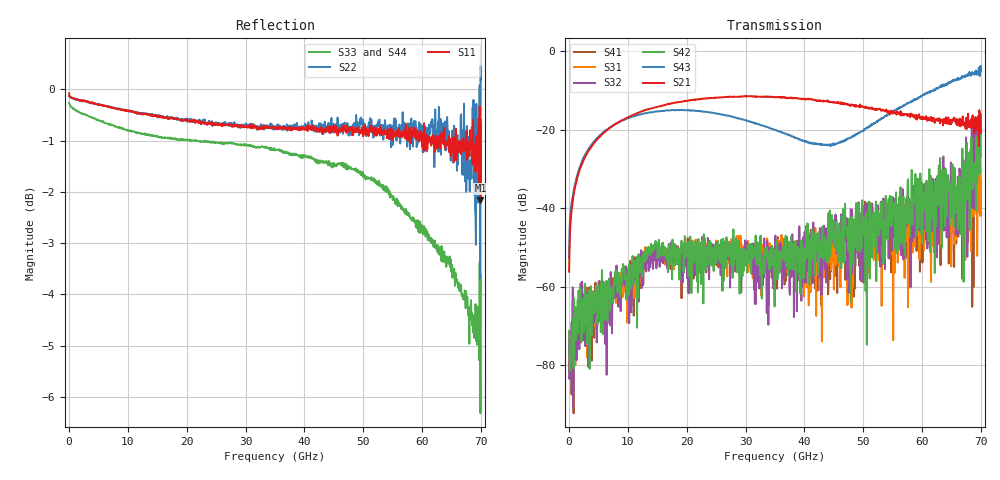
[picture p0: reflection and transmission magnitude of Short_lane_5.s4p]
! 4/13/2026 10:33:38 AM
! C:\ANRITSUVNA\DATA\SARA\2026-04-13 T5 MZDRV\DEEMB STRUCTURES\SHORT_2.S4P
! CHANNEL.1
! TR.MEASUREMENT
! CORRECTED.DATA
! RF.CORRECTION: FULL.FOUR.PORT.CAL.PORT.1.2.3.4
! AVERAGING.OFF
! IF.BANDWIDTH: 1KHZ
! SWEEPTYPE:  FREQ.SWEEP(Linear)
! Reference Plane Port Info
! PORT:  PORT1  PORT2  PORT3  PORT4
! DISTANCE:  0  m  0  m  0  m  0  m
! TIME:  0  s  0  s  0  s  0  s
! PHASE.OFFSET:  0 °  0 °  0 °  0 °
! LOSS:  0  dB  0  dB  0  dB  0  dB
! REF.LOSS:  0  dB  0  dB  0  dB  0  dB
! REF.FREQ:  0  Hz  0  Hz  0  Hz  0  Hz
! Power Info
! POWER:  -20  dBm  -20  dBm  -20  dBm  -20  dBm
! EFF.POWER:  -20  dBm  -20  dBm  -20  dBm  -20  dBm
! SOURCE.ATTEN:  0  dB  0  dB  0  dB  0  dB
! TEST.ATTEN:  0  dB  0  dB  0  dB  0  dB
# HZ S DB R 50.0
! FREQ.HZ  S11DB  S11A  S12DB  S12A  S13DB  S13A  S14DB  S14A
!  S21DB  S21A  S22DB  S22A  S23DB  S23A  S24DB  S24A
!  S31DB  S31A  S32DB  S32A  S33DB  S33A  S34DB  S34A
!  S41DB  S41A  S42DB  S42A  S43DB  S43A  S44DB  S44A
!; PortSelection: Port_1234
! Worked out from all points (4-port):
!   1001 points, 10 MHz to 70 GHz, reference 50 ohm
!   strongest paths, dB at 10 MHz, 17.51 GHz, 35.01 GHz, 52.5 GHz, 70 GHz:
!     S21: -56.2, -13.2, -11.7, -14.7, -20.8
!     S43: -52.6, -14.9, -20.0, -17.7, -3.8
!     S42: -71.2, -58.2, -53.9, -40.7, -18.5
!     S32: -73.6, -50.1, -54.3, -39.3, -19.7
!     S31: -77.9, -51.2, -60.9, -46.3, -32.8
!     S41: -71.7, -49.5, -57.4, -47.2, -40.6
!   lowest |S11| = -2.2 dB at 69.93 GHz (marker M1), VSWR 8.07, Z = 35.9 + j105 ohm
!   |S11| at or under -10 dB: nowhere
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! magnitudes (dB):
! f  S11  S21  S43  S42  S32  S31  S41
! 10 MHz  -0.1  -56.2  -52.6  -71.2  -73.6  -77.9  -71.7
! 2.81 GHz  -0.2  -26.7  -26.2  -66.1  -74.8  -65.0  -61.5
! 13.03 GHz  -0.5  -14.9  -15.7  -53.3  -55.4  -51.9  -54.7
! 50.75 GHz  -0.8  -14.3  -19.3  -54.6  -38.7  -47.3  -44.7
! 65.87 GHz  -1.3  -17.4  -7.2  -36.5  -42.4  -39.3  -42.4
! 69.93 GHz  -2.2  -17.2  -5.3  -26.9  -16.0  -42.0  -38.3
! 70 GHz  -0.6  -20.8  -3.8  -18.5  -19.7  -32.8  -40.6
